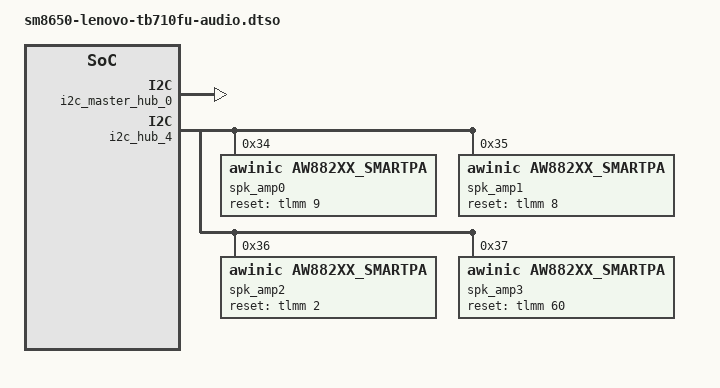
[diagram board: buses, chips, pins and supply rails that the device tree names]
// SPDX-License-Identifier: BSD-3-Clause
/*
 * Lenovo TB710FU speakers: four Awinic AW882xx smart amplifiers on i2c_hub_4,
 * fed by TDM1 (SECONDARY_TDM_RX_0, slots 0-3 of an 8 x 32-bit frame), as the
 * vendor Android configures them.
 */

/dts-v1/;
/plugin/;

#include <dt-bindings/gpio/gpio.h>
#include <dt-bindings/sound/qcom,q6dsp-lpass-ports.h>

&tlmm {
	tdm1_clk_active: tdm1-clk-active-state {
		pins = "gpio121"; function = "i2s1_sck"; drive-strength = <8>; bias-disable; output-high;
	};
	tdm1_clk_sleep: tdm1-clk-sleep-state {
		pins = "gpio121"; function = "gpio"; drive-strength = <2>; bias-pull-down; input-enable;
	};
	tdm1_ws_active: tdm1-ws-active-state {
		pins = "gpio123"; function = "i2s1_ws"; drive-strength = <8>; bias-disable; output-high;
	};
	tdm1_ws_sleep: tdm1-ws-sleep-state {
		pins = "gpio123"; function = "gpio"; drive-strength = <2>; bias-pull-down; input-enable;
	};
	tdm1_din_active: tdm1-din-active-state {
		pins = "gpio122"; function = "i2s1_data0"; drive-strength = <8>; bias-disable;
	};
	tdm1_din_sleep: tdm1-din-sleep-state {
		pins = "gpio122"; function = "gpio"; drive-strength = <2>; bias-pull-down; input-enable;
	};
	tdm1_dout_active: tdm1-dout-active-state {
		pins = "gpio124"; function = "i2s1_data1"; drive-strength = <8>; bias-disable;
	};
	tdm1_dout_sleep: tdm1-dout-sleep-state {
		pins = "gpio124"; function = "gpio"; drive-strength = <2>; bias-pull-down; input-enable;
	};
};

&i2c_master_hub_0 {
	status = "okay";
};

&i2c_hub_4 {
	status = "okay";
	#address-cells = <1>;
	#size-cells = <0>;

	spk_amp0: aw882xx@34 {
		compatible = "awinic,aw882xx_smartpa"; reg = <0x34>; #sound-dai-cells = <0>;
		rename-flag = <1>; monitor-mode = "hal_monitor"; aw-cali-mode = "none";
		aw-re-max = <30000>; aw-re-min = <4000>; sync-load = <1>; sound-channel = <0>;
		reset-gpios = <&tlmm 9 GPIO_ACTIVE_HIGH>;
	};
	spk_amp1: aw882xx@35 {
		compatible = "awinic,aw882xx_smartpa"; reg = <0x35>; #sound-dai-cells = <0>;
		rename-flag = <1>; monitor-mode = "hal_monitor"; aw-cali-mode = "none";
		aw-re-max = <30000>; aw-re-min = <4000>; sync-load = <1>; sound-channel = <1>;
		reset-gpios = <&tlmm 8 GPIO_ACTIVE_HIGH>;
	};
	spk_amp2: aw882xx@36 {
		compatible = "awinic,aw882xx_smartpa"; reg = <0x36>; #sound-dai-cells = <0>;
		rename-flag = <1>; monitor-mode = "hal_monitor"; aw-cali-mode = "none";
		aw-re-max = <30000>; aw-re-min = <4000>; sync-load = <1>; sound-channel = <2>;
		reset-gpios = <&tlmm 2 GPIO_ACTIVE_HIGH>;
	};
	spk_amp3: aw882xx@37 {
		compatible = "awinic,aw882xx_smartpa"; reg = <0x37>; #sound-dai-cells = <0>;
		rename-flag = <1>; monitor-mode = "hal_monitor"; aw-cali-mode = "none";
		aw-re-max = <30000>; aw-re-min = <4000>; sync-load = <1>; sound-channel = <3>;
		reset-gpios = <&tlmm 60 GPIO_ACTIVE_HIGH>;
	};
};

&{/} {
	sound {
		compatible = "lenovo,tb710fu-sndcard";
		model = "Lenovo-TB710FU";
		pinctrl-names = "default", "sleep";
		pinctrl-0 = <&tdm1_clk_active &tdm1_ws_active &tdm1_din_active &tdm1_dout_active>;
		pinctrl-1 = <&tdm1_clk_sleep &tdm1_ws_sleep &tdm1_din_sleep &tdm1_dout_sleep>;

		aw-spk-dai-link {
			link-name = "AW882xx Playback";
			cpu {
				sound-dai = <&q6apmbedai SECONDARY_TDM_RX_0>;
				dai-tdm-slot-num = <8>;
				dai-tdm-slot-width = <32>;
				dai-tdm-slot-rx-mask = <1 1 1 1 0 0 0 0>;
			};
			codec {
				sound-dai = <&spk_amp0>, <&spk_amp1>, <&spk_amp2>, <&spk_amp3>;
			};
			platform {
				sound-dai = <&q6apm>;
			};
		};
	};
};
